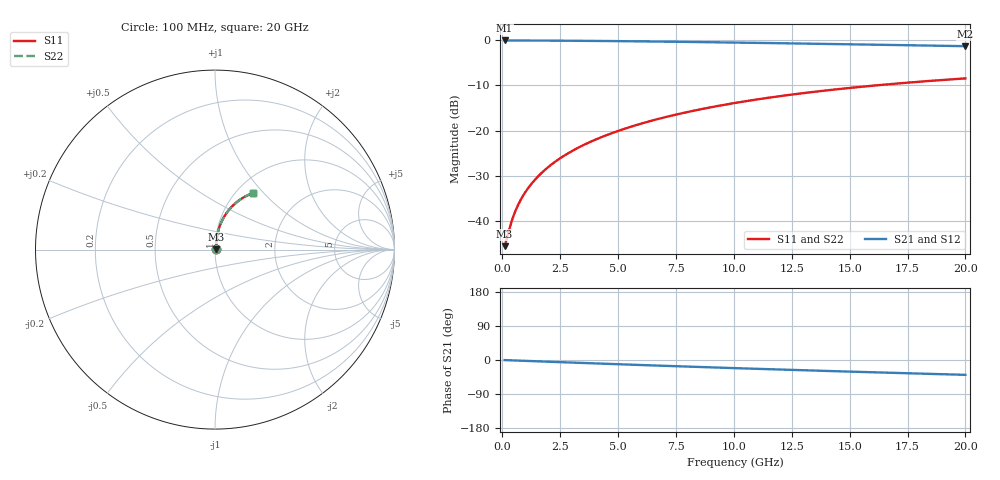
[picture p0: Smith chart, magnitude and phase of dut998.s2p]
! Touchstone file exported from HFSS 2024.1.0
!  File:  C:/UserFiles/LocalFiles/RDL_TSV_Batchsim/temp_RDL_top_998_1779939911.aedt
!  Generated:  11:47:24 AM May 28, 2026
!  Design:  RDL_top
!  Project:  temp_RDL_top_998_1779939911
!  Setup:  Setup1
!  Solution:  Sweep
! Variables:
!  dtsv = 10.80580581um
!  hbump = 3um
!  htsv = 68.45um
!  ldown = 100um
!  lrdl = 545.39um
!  p = 40
!  p1 = 43.12um
!  rhole = 1um
!  t = 450um
!  tdown = 3.915915916um
!  trdl = 2.32um
!  wdown = 15.38538539um
!  wrdl = 18.3um
# GHz S MA R 50.000000
! Terminal data exported
! Port[1] = Box2_T1
! Port[2] = Box2_T2
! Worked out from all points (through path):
!   200 points, 100 MHz to 20 GHz, reference 50 ohm
!   highest |S21| = -0.04 dB at 100 MHz (marker M1); lowest = -1.3 dB at 20 GHz (marker M2)
!   group delay of S21, straight-line fit = 5.42 ps
!   lowest |S11| = -45.6 dB at 100 MHz (marker M3), VSWR 1.01, Z = 50.5 + j0.216 ohm
!   |S11| at or under -10 dB: start of sweep to 16.14 GHz
!   |S22| runs from -45.6 to -8.4 dB; largest |S21 - S12| = 2.7e-15
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0.1  0.00523 24.1  0.9952 -0.2  0.9952 -0.2  0.00523 24.1
! Gamma 0 0 0 0
! Port Impedance 50 0 50 0
0.3  0.008066 51.6  0.995 -0.7  0.995 -0.7  0.008066 51.6
0.4  0.009822 58.1  0.9948 -1.0  0.9948 -1.0  0.009822 58.1
0.6  0.01347 65.7  0.9943 -1.4  0.9943 -1.4  0.01347 65.7
0.7  0.01531 68.1  0.9941 -1.6  0.9941 -1.6  0.01531 68.1
0.9  0.01899 71.5  0.9937 -2.1  0.9937 -2.1  0.01899 71.5
1.2  0.02455 74.8  0.9931 -2.8  0.9931 -2.8  0.02455 74.8
1.4  0.02829 76.3  0.9927 -3.2  0.9927 -3.2  0.02829 76.3
1.7  0.03394 77.9  0.992 -3.9  0.992 -3.9  0.03394 77.9
2.2  0.04348 79.5  0.9906 -5.0  0.9906 -5.0  0.04348 79.5
2.8  0.05509 80.4  0.9886 -6.4  0.9886 -6.4  0.05509 80.4
3.5  0.06884 80.8  0.9859 -7.9  0.9859 -7.9  0.06885 80.8
4.2  0.08279 80.8  0.9826 -9.4  0.9826 -9.4  0.08279 80.8
5  0.09892 80.3  0.9784 -11.2  0.9784 -11.2  0.09892 80.3
5.9  0.1173 79.5  0.9731 -13.1  0.9731 -13.1  0.1173 79.5
6.8  0.1357 78.4  0.9673 -15.0  0.9673 -15.0  0.1357 78.4
8.4  0.1686 76.1  0.956 -18.2  0.956 -18.2  0.1686 76.1
10.1  0.2031 73.4  0.943 -21.6  0.943 -21.6  0.2031 73.4
11.7  0.2347 70.6  0.9302 -24.6  0.9302 -24.6  0.2347 70.6
13.4  0.2672 67.7  0.9161 -27.8  0.9161 -27.8  0.2672 67.6
16.7  0.3258 61.9  0.8881 -33.6  0.8881 -33.6  0.3258 61.9
20  0.378 56.3  0.8599 -39.2  0.8599 -39.2  0.378 56.3
